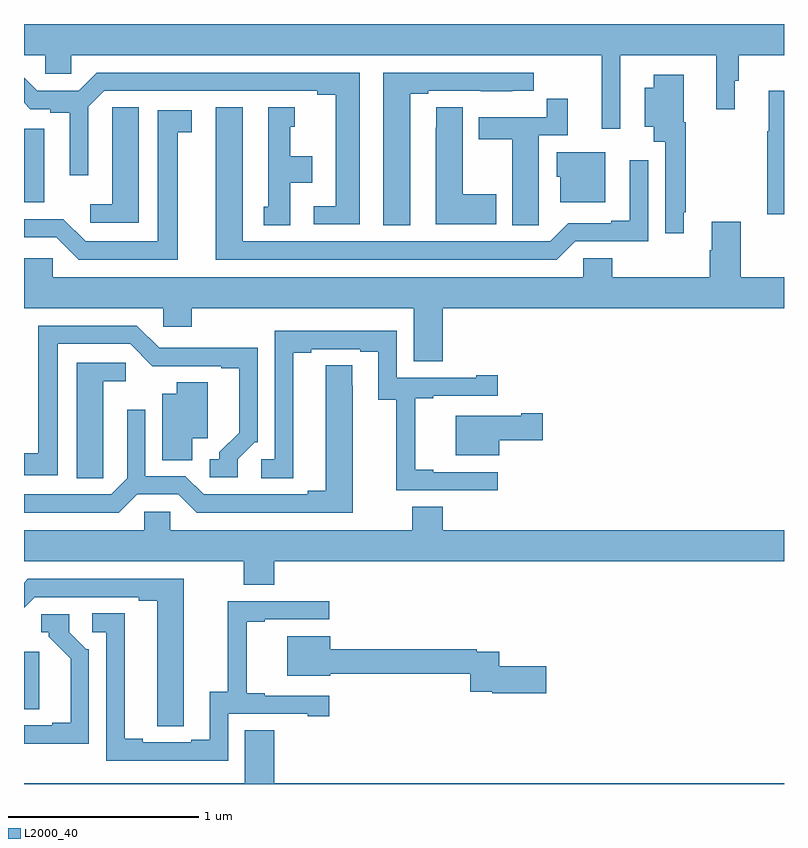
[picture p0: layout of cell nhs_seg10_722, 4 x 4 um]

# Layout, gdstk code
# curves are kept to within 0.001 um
import gdstk
lib = gdstk.Library(unit=1e-6, precision=1e-09)
def R(c, l, rs):  # rectangles x0, y0, x1, y1
    for r in rs: c.add(gdstk.rectangle(r[:2], r[2:], *l))
def P(c, l, *ps):  # polygons
    for p in ps: c.add(gdstk.Polygon(p, *l))
L2000_40 = (2000, 40)

nhs_seg10_722 = lib.new_cell('nhs_seg10_722')
R(nhs_seg10_722, L2000_40, [(147,1276.894,147.079,1277.197), (147,1279.562,147.106,1279.95)])
P(nhs_seg10_722, L2000_40, [(150.138,1280.336),(150.644,1280.336),(150.644,1280.052),(150.742,1280.052),(150.742,1280.202),(150.761,1280.202),(150.761,1280.336),(151,1280.336),(151,1280.5),(147,1280.5),(147,1280.336),(147.111,1280.336),(147.111,1280.238),(147.249,1280.238),(147.249,1280.336),(150.041,1280.336),(150.041,1279.95),(150.138,1279.95)],
  [(149.032,1280.133),(149.128,1280.133),(149.128,1280.148),(149.404,1280.148),(149.404,1280.147),(149.57,1280.147),(149.57,1280.148),(149.683,1280.148),(149.683,1280.244),(148.892,1280.244),(148.892,1279.441),(149.032,1279.441)],
  [(148.768,1280.244),(147.383,1280.244),(147.287,1280.148),(147.069,1280.148),(147,1280.217),(147,1280.085),(147.033,1280.052),(147.138,1280.052),(147.138,1280.032),(147.242,1280.032),(147.242,1279.704),(147.339,1279.704),(147.339,1280.064),(147.423,1280.148),(148.544,1280.148),(148.544,1280.128),(148.64,1280.128),(148.64,1279.542),(148.524,1279.542),(148.524,1279.446),(148.768,1279.446)],
  [(150.472,1279.51),(150.484,1279.51),(150.484,1279.984),(150.472,1279.984),(150.472,1280.233),(150.314,1280.233),(150.314,1280.164),(150.266,1280.164),(150.266,1279.958),(150.314,1279.958),(150.314,1279.88),(150.375,1279.88),(150.375,1279.398),(150.472,1279.398)],
  [(151,1280.149),(150.92,1280.149),(150.92,1279.936),(150.913,1279.936),(150.913,1279.5),(151,1279.5)],
  [(149.709,1279.552),(149.71,1279.552),(149.71,1279.914),(149.861,1279.914),(149.861,1280.107),(149.752,1280.107),(149.752,1280.01),(149.393,1280.01),(149.393,1279.894),(149.57,1279.894),(149.57,1279.441),(149.709,1279.441)],
  [(147.604,1280.063),(147.465,1280.063),(147.465,1279.955),(147.464,1279.955),(147.464,1279.552),(147.348,1279.552),(147.348,1279.455),(147.604,1279.455)],
  [(149.485,1279.605),(149.308,1279.605),(149.308,1280.063),(149.169,1280.063),(149.169,1279.955),(149.168,1279.955),(149.168,1279.445),(149.485,1279.445)],
  [(148.402,1279.664),(148.516,1279.664),(148.516,1279.804),(148.402,1279.804),(148.402,1279.959),(148.426,1279.959),(148.426,1280.062),(148.286,1280.062),(148.286,1279.539),(148.262,1279.539),(148.262,1279.441),(148.402,1279.441)],
  [(149.901,1279.356),(150.285,1279.356),(150.285,1279.783),(150.188,1279.783),(150.188,1279.465),(150.092,1279.465),(150.092,1279.452),(149.865,1279.452),(149.769,1279.356),(148.15,1279.356),(148.15,1280.062),(148.01,1280.062),(148.01,1279.26),(149.805,1279.26)],
  [(147.808,1279.93),(147.883,1279.93),(147.883,1280.046),(147.704,1280.046),(147.704,1279.356),(147.324,1279.356),(147.207,1279.473),(147,1279.473),(147,1279.377),(147.171,1279.377),(147.288,1279.26),(147.808,1279.26)],
  [(150.058,1279.825),(149.804,1279.825),(149.804,1279.695),(149.822,1279.695),(149.822,1279.562),(150.058,1279.562)],
  [(149.204,1279.004),(151,1279.004),(151,1279.168),(150.773,1279.168),(150.773,1279.459),(150.62,1279.459),(150.62,1279.31),(150.608,1279.31),(150.608,1279.168),(150.095,1279.168),(150.095,1279.266),(149.943,1279.266),(149.943,1279.168),(147.15,1279.168),(147.15,1279.266),(147,1279.266),(147,1279.004),(147.732,1279.004),(147.732,1278.906),(147.884,1278.906),(147.884,1279.004),(149.051,1279.004),(149.051,1278.724),(149.204,1278.724)],
  [(148.125,1278.21),(148.215,1278.3),(148.23,1278.3),(148.23,1278.797),(147.967,1278.797),(147.967,1278.795),(147.711,1278.795),(147.594,1278.912),(147.074,1278.912),(147.074,1278.242),(147,1278.242),(147,1278.126),(147.178,1278.126),(147.178,1278.816),(147.558,1278.816),(147.676,1278.698),(148.037,1278.699),(148.037,1278.687),(148.133,1278.687),(148.133,1278.35),(148.028,1278.245),(148.028,1278.21),(147.978,1278.21),(147.978,1278.114),(148.125,1278.114)],
  [(149.494,1278.141),(149.155,1278.141),(149.155,1278.154),(149.06,1278.154),(149.06,1278.531),(149.155,1278.531),(149.155,1278.543),(149.494,1278.543),(149.494,1278.652),(149.381,1278.652),(149.381,1278.639),(148.962,1278.639),(148.962,1278.885),(148.32,1278.885),(148.32,1278.21),(148.248,1278.21),(148.248,1278.109),(148.417,1278.109),(148.417,1278.769),(148.513,1278.769),(148.513,1278.789),(148.769,1278.789),(148.769,1278.774),(148.865,1278.774),(148.865,1278.523),(148.96,1278.523),(148.96,1278.045),(149.494,1278.045)],
  [(147.417,1278.217),(147.418,1278.217),(147.418,1278.62),(147.535,1278.62),(147.535,1278.717),(147.278,1278.717),(147.278,1278.109),(147.417,1278.109)],
  [(147.595,1278.024),(147.813,1278.024),(147.909,1277.928),(148.729,1277.928),(148.728,1278.704),(148.589,1278.704),(148.589,1278.044),(148.493,1278.044),(148.493,1278.024),(147.945,1278.024),(147.849,1278.12),(147.639,1278.12),(147.639,1278.469),(147.543,1278.469),(147.543,1278.108),(147.459,1278.024),(147,1278.024),(147,1277.928),(147.499,1277.928)],
  [(147.886,1278.32),(147.967,1278.32),(147.967,1278.614),(147.803,1278.614),(147.803,1278.553),(147.728,1278.553),(147.728,1278.205),(147.886,1278.205)],
  [(149.5,1278.31),(149.731,1278.31),(149.731,1278.452),(149.618,1278.452),(149.618,1278.439),(149.273,1278.439),(149.273,1278.23),(149.5,1278.23)],
  [(148.316,1277.672),(151,1277.672),(151,1277.836),(149.204,1277.836),(149.204,1277.96),(149.044,1277.96),(149.044,1277.836),(147.771,1277.836),(147.771,1277.934),(147.633,1277.934),(147.633,1277.836),(147,1277.836),(147,1277.672),(148.156,1277.672),(148.156,1277.548),(148.316,1277.548)],
  [(147.84,1276.912),(147.841,1276.912),(147.841,1277.58),(147.021,1277.58),(147,1277.559),(147,1277.427),(147.057,1277.484),(147.605,1277.484),(147.605,1277.464),(147.701,1277.464),(147.701,1276.804),(147.84,1276.804)],
  [(148.074,1276.869),(148.493,1276.869),(148.493,1276.857),(148.606,1276.857),(148.606,1276.965),(148.267,1276.965),(148.267,1276.978),(148.172,1276.978),(148.172,1277.355),(148.267,1277.355),(148.267,1277.367),(148.606,1277.367),(148.606,1277.463),(148.072,1277.463),(148.072,1276.985),(147.977,1276.985),(147.977,1276.734),(147.881,1276.734),(147.881,1276.719),(147.625,1276.719),(147.625,1276.739),(147.529,1276.739),(147.529,1277.399),(147.36,1277.399),(147.36,1277.298),(147.432,1277.298),(147.432,1276.623),(148.074,1276.623)],
  [(147.342,1277.208),(147.327,1277.208),(147.237,1277.298),(147.237,1277.394),(147.09,1277.394),(147.09,1277.298),(147.129,1277.298),(147.129,1277.275),(147.245,1277.158),(147.245,1276.822),(147.149,1276.822),(147.149,1276.809),(147,1276.809),(147,1276.713),(147.342,1276.712)],
  [(149.749,1277.12),(149.501,1277.12),(149.501,1277.196),(149.384,1277.196),(149.384,1277.209),(148.612,1277.209),(148.612,1277.278),(148.385,1277.278),(148.385,1277.069),(148.612,1277.069),(148.612,1277.08),(149.348,1277.08),(149.348,1276.985),(149.464,1276.985),(149.464,1276.978),(149.749,1276.978)],
  [(151,1276.504),(148.316,1276.504),(148.316,1276.784),(148.163,1276.784),(148.163,1276.504),(147,1276.504),(147,1276.5),(151,1276.5)])

lib.write_gds('nhs_seg10_722.gds')
